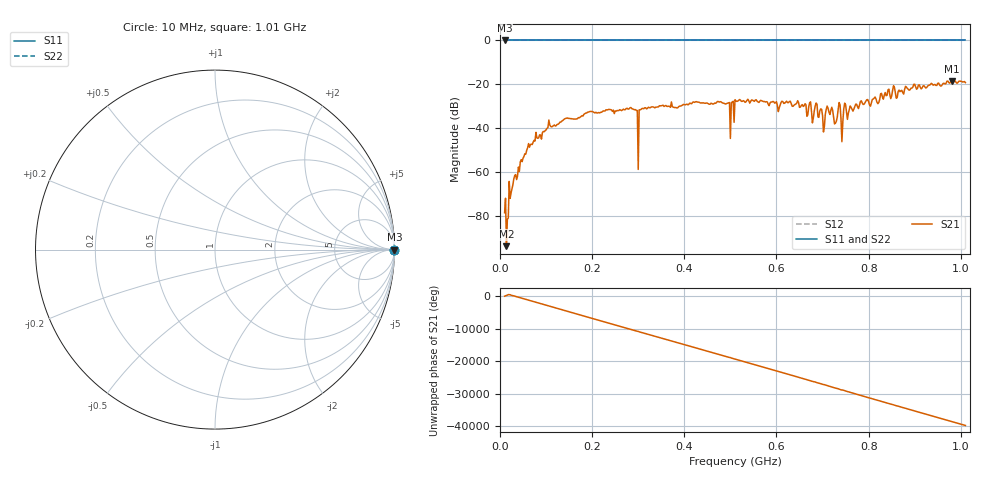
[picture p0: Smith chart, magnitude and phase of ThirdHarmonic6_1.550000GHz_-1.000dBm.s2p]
! 8/16/2025 6:24:01 PM
! C:\ANRITSUVNA\TEMP\TEMP.S2P
! CHANNEL.1
! TR.MEASUREMENT
! RAW.DATA
! RF.CORRECTION.OFF
! AVERAGING.OFF
! IF.BANDWIDTH: 5KHZ
! SWEEPTYPE:  FREQ.SWEEP(Linear)
! Reference Plane Port Info
! PORT:  PORT1  PORT2
! DISTANCE:  0  m  0  m
! TIME:  0  s  0  s
! PHASE.OFFSET:  0  deg.  0  deg.
! LOSS:  0  dB  0  dB
! REF.LOSS:  0  dB  0  dB
! REF.FREQ:  0  Hz  0  Hz
! Power Info
! POWER:  -20  dBm  -20  dBm
! EFF.POWER:  -20  dBm  -20  dBm
! SOURCE.ATTEN:  0  dB  0  dB
! TEST.ATTEN:  0  dB  0  dB
# GHZ S RI R 50.0
! FREQ.GHZ  S11RE  S11IM  S21RE  S21IM  S12RE  S12IM  S22RE  S22IM
!; PortSelection: Port_12
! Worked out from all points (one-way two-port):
!   501 points, 10 MHz to 1.01 GHz, reference 50 ohm
!   highest |S21| = -18.44 dB at 980 MHz (marker M1); lowest = -93.6 dB at 14 MHz (marker M2)
!   lowest |S11| = 0.0 dB at 10 MHz (marker M3)
!   |S11| at or under -10 dB: nowhere
!   |S22| runs from 0.0 to 0.0 dB; largest |S21 - S12| = 1.1
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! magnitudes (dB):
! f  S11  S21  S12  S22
! 10 MHz  0.0  -78.4  0.0  0.0
! 14 MHz  0.0  -93.6  0.0  0.0
! 30 MHz  0.0  -62.9  0.0  0.0
! 64 MHz  0.0  -48.6  0.0  0.0
! 106 MHz  0.0  -36.2  0.0  0.0
! 178 MHz  0.0  -34.3  0.0  0.0
! 284 MHz  0.0  -30.5  0.0  0.0
! 300 MHz  0.0  -58.7  0.0  0.0
! 306 MHz  0.0  -31.4  0.0  0.0
! 344 MHz  0.0  -30.2  0.0  0.0
! 476 MHz  0.0  -28.1  0.0  0.0
! 504 MHz  0.0  -28.0  0.0  0.0
! 510 MHz  0.0  -27.0  0.0  0.0
! 626 MHz  0.0  -28.3  0.0  0.0
! 678 MHz  0.0  -37.5  0.0  0.0
! 716 MHz  0.0  -33.7  0.0  0.0
! 728 MHz  0.0  -37.6  0.0  0.0
! 736 MHz  0.0  -28.3  0.0  0.0
! 742 MHz  0.0  -46.1  0.0  0.0
! 844 MHz  0.0  -22.2  0.0  0.0
! 980 MHz  0.0  -18.4  0.0  0.0
! 1.01 GHz  0.0  -19.2  0.0  0.0
